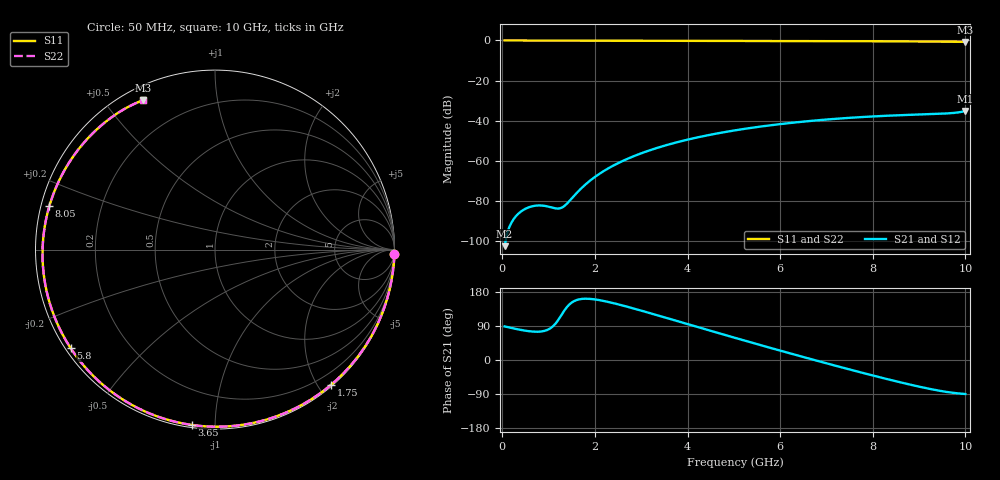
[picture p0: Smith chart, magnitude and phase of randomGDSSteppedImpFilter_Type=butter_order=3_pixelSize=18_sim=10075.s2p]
! freq	dB(S11)	phase(S11)	dB(S12)	phase(S12)
!  dB(S21)	phase(S21)	dB(S22)	phase(S22)
!S-par simulation data
#  GHz  S  DB  R 50
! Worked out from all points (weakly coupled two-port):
!   200 points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, 50 MHz to 10 GHz, reference 50 ohm
!   highest |S21| = -35.17 dB at 10 GHz (marker M1); lowest = -102.6 dB at 50 MHz (marker M2)
!   lowest |S11| = -0.7 dB at 10 GHz (marker M3), VSWR 25.10, Z = 2.78 + j31.4 ohm
!   |S11| at or under -10 dB: nowhere
!   |S22| runs from -0.7 to 0.0 dB; largest |S21 - S12| = 0
!   S11 on the Smith chart (normalised r, x): 50 MHz: 0, -79; 1.75 GHz: 0.02, -2.18; 3.65 GHz: 0.01, -0.88; 5.8 GHz: 0.01, -0.31; 8.05 GHz: 0.02, +0.13; 10 GHz: 0.06, +0.63
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0.05  -0.00 -1.5  -102.56 88.6  -102.56 88.6  -0.00 -1.5
0.7  -0.03 -20.1  -82.43 74.7  -82.43 74.7  -0.03 -20.1
1.05  -0.04 -30.0  -83.17 84.6  -83.17 84.6  -0.04 -30.0
1.45  -0.05 -41.2  -80.05 146.7  -80.05 146.7  -0.05 -41.2
1.75  -0.06 -49.3  -72.76 161.5  -72.76 161.5  -0.06 -49.3
2.05  -0.07 -57.4  -67.23 158.9  -67.23 158.9  -0.07 -57.4
2.45  -0.09 -67.9  -61.76 148.5  -61.76 148.5  -0.09 -67.8
2.9  -0.10 -79.3  -57.14 133.8  -57.14 133.8  -0.10 -79.3
3.4  -0.12 -91.5  -53.17 116.2  -53.17 116.2  -0.12 -91.5
3.65  -0.13 -97.5  -51.50 107.3  -51.50 107.3  -0.13 -97.5
4.3  -0.15 -112.6  -47.91 84.1  -47.91 84.1  -0.15 -112.6
5.05  -0.19 -129.3  -44.72 57.6  -44.72 57.6  -0.19 -129.3
5.8  -0.23 -145.6  -42.26 31.6  -42.26 31.6  -0.23 -145.6
6.25  -0.26 -155.2  -41.06 16.3  -41.06 16.3  -0.26 -155.2
6.7  -0.29 -164.9  -40.03 1.2  -40.03 1.2  -0.29 -164.9
7.4  -0.35 179.9  -38.73 -21.8  -38.73 -21.8  -0.35 179.9
8.05  -0.41 165.3  -37.82 -42.4  -37.82 -42.4  -0.41 165.3
8.35  -0.44 158.4  -37.49 -51.6  -37.49 -51.6  -0.44 158.4
8.8  -0.48 147.7  -37.09 -64.8  -37.09 -64.8  -0.48 147.7
9.2  -0.53 137.7  -36.78 -75.5  -36.78 -75.5  -0.53 137.7
9.7  -0.60 124.3  -36.23 -86.1  -36.23 -86.1  -0.60 124.3
10  -0.69 115.6  -35.17 -89.8  -35.17 -89.8  -0.69 115.6
